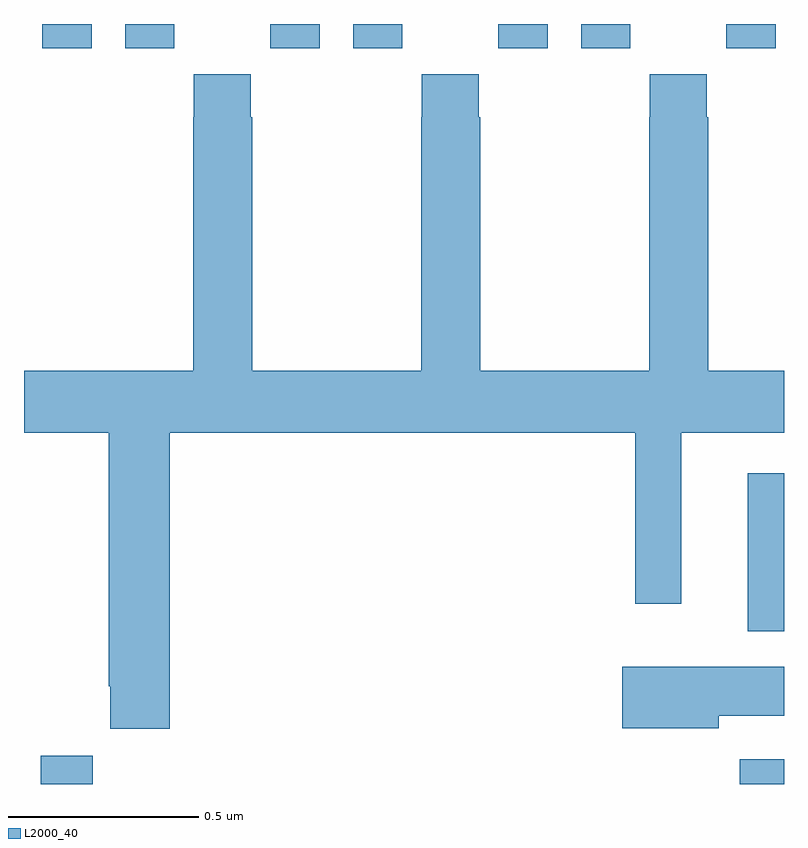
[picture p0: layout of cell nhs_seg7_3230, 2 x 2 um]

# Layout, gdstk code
import gdstk
lib = gdstk.Library(unit=1e-6, precision=1e-09)
def R(c, l, rs):  # rectangles x0, y0, x1, y1
    for r in rs: c.add(gdstk.rectangle(r[:2], r[2:], *l))
def P(c, l, *ps):  # polygons
    for p in ps: c.add(gdstk.Polygon(p, *l))
L2000_40 = (2000, 40)

nhs_seg7_3230 = lib.new_cell('nhs_seg7_3230')
R(nhs_seg7_3230, L2000_40, [(156.044,1025,156.181,1025.074), (157.883,1025,158,1025.065), (157.904,1025.402,158,1025.818), (156.048,1026.936,156.178,1027), (156.266,1026.936,156.396,1027), (156.648,1026.936,156.778,1027), (156.866,1026.936,156.996,1027), (157.248,1026.936,157.378,1027), (157.466,1026.936,157.596,1027), (157.848,1026.936,157.978,1027)])
P(nhs_seg7_3230, L2000_40, [(156.383,1025.924),(157.608,1025.924),(157.608,1025.475),(157.729,1025.475),(157.729,1025.924),(158,1025.924),(158,1026.088),(157.8,1026.088),(157.8,1026.755),(157.797,1026.755),(157.797,1026.868),(157.647,1026.868),(157.647,1026.755),(157.645,1026.755),(157.645,1026.088),(157.2,1026.088),(157.2,1026.755),(157.197,1026.755),(157.197,1026.868),(157.047,1026.868),(157.047,1026.755),(157.045,1026.755),(157.045,1026.088),(156.6,1026.088),(156.6,1026.755),(156.597,1026.755),(156.597,1026.868),(156.447,1026.868),(156.447,1026.755),(156.445,1026.755),(156.445,1026.088),(156,1026.088),(156,1025.924),(156.223,1025.924),(156.223,1025.257),(156.227,1025.257),(156.227,1025.145),(156.383,1025.145)],
  [(157.828,1025.179),(158,1025.179),(158,1025.308),(157.574,1025.308),(157.574,1025.147),(157.828,1025.147)])

lib.write_gds('nhs_seg7_3230.gds')
